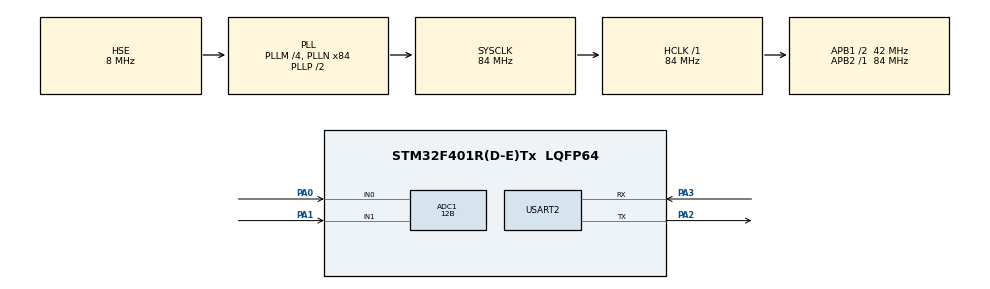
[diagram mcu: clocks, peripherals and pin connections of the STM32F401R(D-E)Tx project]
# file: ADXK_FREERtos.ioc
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ADC1.Channel-6\#ChannelRegularConversion=ADC_CHANNEL_1
ADC1.ContinuousConvMode=DISABLE
ADC1.NbrOfConversion=1
ADC1.NbrOfConversionFlag=1
ADC1.Rank-6\#ChannelRegularConversion=1
ADC1.Resolution=ADC_RESOLUTION_12B
ADC1.SamplingTime-6\#ChannelRegularConversion=ADC_SAMPLETIME_15CYCLES
ADC1.ScanConvMode=DISABLE
ADC1.master=1
FREERTOS.Tasks01=Sensor1,1,128,Sensor1Read,Default,NULL,Dynamic,NULL,NULL;Sensor2,0,128,Sensor2Read,Default,NULL,Dynamic,NULL,NULL
FREERTOS.configUSE_NEWLIB_REENTRANT=1
Mcu.Family=STM32F4
Mcu.Name=STM32F401R(D-E)Tx
Mcu.Package=LQFP64
NVIC.PriorityGroup=NVIC_PRIORITYGROUP_4
NVIC.TIM2_IRQn=true\:15\:0\:false\:false\:true\:false\:false\:true\:true
NVIC.TimeBase=TIM2_IRQn
NVIC.TimeBaseIP=TIM2
PA0-WKUP.Signal=ADCx_IN0
PA1.Signal=ADCx_IN1
PA2.Mode=Asynchronous
PA2.Signal=USART2_TX
PA3.Mode=Asynchronous
PA3.Signal=USART2_RX
PH0\ -\ OSC_IN.Mode=HSE-External-Oscillator
PH0\ -\ OSC_IN.Signal=RCC_OSC_IN
PH1\ -\ OSC_OUT.Mode=HSE-External-Oscillator
PH1\ -\ OSC_OUT.Signal=RCC_OSC_OUT
ProjectManager.HeapSize=0x200
ProjectManager.StackSize=0x400
ProjectManager.TargetToolchain=STM32CubeIDE
RCC.48MHZClocksFreq_Value=24000000
RCC.AHBFreq_Value=84000000
RCC.APB1CLKDivider=RCC_HCLK_DIV2
RCC.APB1Freq_Value=42000000
RCC.APB1TimFreq_Value=84000000
RCC.APB2Freq_Value=84000000
RCC.APB2TimFreq_Value=84000000
RCC.CortexFreq_Value=84000000
RCC.HCLKFreq_Value=84000000
RCC.HSE_VALUE=8000000
RCC.HSI_VALUE=16000000
RCC.LSE_VALUE=32768
RCC.PLLM=4
RCC.PLLN=84
RCC.PLLQ=7
RCC.PLLSourceVirtual=RCC_PLLSOURCE_HSE
RCC.SYSCLKFreq_VALUE=84000000
RCC.SYSCLKSource=RCC_SYSCLKSOURCE_PLLCLK
RCC.VCOOutputFreq_Value=168000000
SH.ADCx_IN0.0=ADC1_IN0,IN0
SH.ADCx_IN1.0=ADC1_IN1,IN1
USART2.VirtualMode=VM_ASYNC
VP_FREERTOS_VS_CMSIS_V1.Mode=CMSIS_V1
VP_SYS_VS_tim2.Mode=TIM2
board=NUCLEO-F401RE

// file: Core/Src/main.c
/* USER CODE BEGIN Header */
/**
  ******************************************************************************
  * @file           : main.c
  * @brief          : Main program body
  ******************************************************************************
  * @attention
  *
  * Copyright (c) 2023 STMicroelectronics.
  * All rights reserved.
  *
  * This software is licensed under terms that can be found in the LICENSE file
  * in the root directory of this software component.
  * If no LICENSE file comes with this software, it is provided AS-IS.
  *
  ******************************************************************************
  */
/* USER CODE END Header */
#include "main.h"
#include "cmsis_os.h"

/* USER CODE BEGIN Includes */

#include "string.h"
#include <stdio.h>
/* USER CODE END Includes */

ADC_HandleTypeDef hadc1;

UART_HandleTypeDef huart2;

osThreadId Sensor1Handle;
osThreadId Sensor2Handle;

void SystemClock_Config(void);
static void MX_GPIO_Init(void);
static void MX_ADC1_Init(void);
static void MX_USART2_UART_Init(void);
void Sensor1Read(void const * argument);
void Sensor2Read(void const * argument);

/* USER CODE BEGIN PFP */
#define SampleSize 1000
uint32_t counter1;
uint32_t counter2;

/* USER CODE END PFP */

int main(void)
{

  /* MCU Configuration--------------------------------------------------------*/

  /* Reset of all peripherals, Initializes the Flash interface and the Systick. */
  HAL_Init();

  /* Configure the system clock */
  SystemClock_Config();

  /* Initialize all configured peripherals */
  MX_GPIO_Init();
  MX_ADC1_Init();
  MX_USART2_UART_Init();

  /* Create the thread(s) */
  /* definition and creation of Sensor1 */
  osThreadDef(Sensor1, Sensor1Read, osPriorityAboveNormal, 0, 128);
  Sensor1Handle = osThreadCreate(osThread(Sensor1), NULL);

  /* definition and creation of Sensor2 */
  osThreadDef(Sensor2, Sensor2Read, osPriorityNormal, 0, 128);
  Sensor2Handle = osThreadCreate(osThread(Sensor2), NULL);

  /* Start scheduler */
  osKernelStart();

  /* We should never get here as control is now taken by the scheduler */
  /* Infinite loop */
  while (1)
  {

  }
}

void SystemClock_Config(void)
{
  RCC_OscInitTypeDef RCC_OscInitStruct = {0};
  RCC_ClkInitTypeDef RCC_ClkInitStruct = {0};

  /** Configure the main internal regulator output voltage
  */
  __HAL_RCC_PWR_CLK_ENABLE();
  __HAL_PWR_VOLTAGESCALING_CONFIG(PWR_REGULATOR_VOLTAGE_SCALE2);

  /** Initializes the RCC Oscillators according to the specified parameters
  * in the RCC_OscInitTypeDef structure.
  */
  RCC_OscInitStruct.OscillatorType = RCC_OSCILLATORTYPE_HSE;
  RCC_OscInitStruct.HSEState = RCC_HSE_ON;
  RCC_OscInitStruct.PLL.PLLState = RCC_PLL_ON;
  RCC_OscInitStruct.PLL.PLLSource = RCC_PLLSOURCE_HSE;
  RCC_OscInitStruct.PLL.PLLM = 4;
  RCC_OscInitStruct.PLL.PLLN = 84;
  RCC_OscInitStruct.PLL.PLLP = RCC_PLLP_DIV2;
  RCC_OscInitStruct.PLL.PLLQ = 7;
  if (HAL_RCC_OscConfig(&RCC_OscInitStruct) != HAL_OK)
  {
    Error_Handler();
  }

  /** Initializes the CPU, AHB and APB buses clocks
  */
  RCC_ClkInitStruct.ClockType = RCC_CLOCKTYPE_HCLK|RCC_CLOCKTYPE_SYSCLK
                              |RCC_CLOCKTYPE_PCLK1|RCC_CLOCKTYPE_PCLK2;
  RCC_ClkInitStruct.SYSCLKSource = RCC_SYSCLKSOURCE_PLLCLK;
  RCC_ClkInitStruct.AHBCLKDivider = RCC_SYSCLK_DIV1;
  RCC_ClkInitStruct.APB1CLKDivider = RCC_HCLK_DIV2;
  RCC_ClkInitStruct.APB2CLKDivider = RCC_HCLK_DIV1;

  if (HAL_RCC_ClockConfig(&RCC_ClkInitStruct, FLASH_LATENCY_2) != HAL_OK)
  {
    Error_Handler();
  }
}

static void MX_ADC1_Init(void)
{

  ADC_ChannelConfTypeDef sConfig = {0};

  /** Configure the global features of the ADC (Clock, Resolution, Data Alignment and number of conversion)
  */
  hadc1.Instance = ADC1;
  hadc1.Init.ClockPrescaler = ADC_CLOCK_SYNC_PCLK_DIV4;
  hadc1.Init.Resolution = ADC_RESOLUTION_12B;
  hadc1.Init.ScanConvMode = DISABLE;
  hadc1.Init.ContinuousConvMode = DISABLE;
  hadc1.Init.DiscontinuousConvMode = DISABLE;
  hadc1.Init.ExternalTrigConvEdge = ADC_EXTERNALTRIGCONVEDGE_NONE;
  hadc1.Init.ExternalTrigConv = ADC_SOFTWARE_START;
  hadc1.Init.DataAlign = ADC_DATAALIGN_RIGHT;
  hadc1.Init.NbrOfConversion = 1;
  hadc1.Init.DMAContinuousRequests = DISABLE;
  hadc1.Init.EOCSelection = ADC_EOC_SINGLE_CONV;
  if (HAL_ADC_Init(&hadc1) != HAL_OK)
  {
    Error_Handler();
  }

  /** Configure for the selected ADC regular channel its corresponding rank in the sequencer and its sample time.
  */
  sConfig.Channel = ADC_CHANNEL_1;
  sConfig.Rank = 1;
  sConfig.SamplingTime = ADC_SAMPLETIME_15CYCLES;
  if (HAL_ADC_ConfigChannel(&hadc1, &sConfig) != HAL_OK)
  {
    Error_Handler();
  }

}

static void MX_USART2_UART_Init(void)
{

  huart2.Instance = USART2;
  huart2.Init.BaudRate = 115200;
  huart2.Init.WordLength = UART_WORDLENGTH_8B;
  huart2.Init.StopBits = UART_STOPBITS_1;
  huart2.Init.Parity = UART_PARITY_NONE;
  huart2.Init.Mode = UART_MODE_TX_RX;
  huart2.Init.HwFlowCtl = UART_HWCONTROL_NONE;
  huart2.Init.OverSampling = UART_OVERSAMPLING_16;
  if (HAL_UART_Init(&huart2) != HAL_OK)
  {
    Error_Handler();
  }

}

static void MX_GPIO_Init(void)
{

  /* GPIO Ports Clock Enable */
  __HAL_RCC_GPIOH_CLK_ENABLE();
  __HAL_RCC_GPIOA_CLK_ENABLE();

}

void Sensor1Read(void const * argument)
{
  /* USER CODE BEGIN 5 */
  /* Infinite loop */
  for(;;)
  {
	  counter1++;
	  	  	  if (counter1<=SampleSize)
	  	  	  {
	  	  	  ADC_ChannelConfTypeDef sConfig = {0};
	  	  	  int Sensor1Values;
	  	  	  uint8_t str[50]="";
	  	  	  	sConfig.Channel = ADC_CHANNEL_0;
	  	  	    sConfig.Rank = 1;
	  	  	    sConfig.SamplingTime = ADC_SAMPLETIME_15CYCLES;
	  	  	   if (HAL_ADC_ConfigChannel(&hadc1, &sConfig) != HAL_OK)
	  	  	    {
	  	  	      Error_Handler();
	  	  	   }

	  	  	  HAL_ADC_Start(&hadc1);
	  	  	  HAL_ADC_PollForConversion(&hadc1, 100);
	  	  	  Sensor1Values=(int)HAL_ADC_GetValue(&hadc1);
	  	  	  HAL_ADC_Stop(&hadc1);
	  	  	  sprintf(str, "\r\nSensor1 Value[%lu] = %d\r\n",(unsigned long)counter1,Sensor1Values);
	  	  	  HAL_UART_Transmit(&huart2, (uint8_t*)str, strlen(str), 200);
	  	  	  osDelay(10);
	  	  	  }
	  else
	  {
		  break;
	  }
  }
  /* USER CODE END 5 */
}

void Sensor2Read(void const * argument)
{
  /* USER CODE BEGIN Sensor2Read */
  /* Infinite loop */
  for(;;)
  {
	  counter2++;
	  	  if (counter2<=SampleSize)
	  	  {
	  	  ADC_ChannelConfTypeDef sConfig = {0};
	  	  int Sensor2Values;
	  	  uint8_t str[50]="";
	  	  	sConfig.Channel = ADC_CHANNEL_1;
	  	    sConfig.Rank = 1;
	  	    sConfig.SamplingTime = ADC_SAMPLETIME_15CYCLES;
	  	   if (HAL_ADC_ConfigChannel(&hadc1, &sConfig) != HAL_OK)
	  	    {
	  	      Error_Handler();
	  	   }

	  	  HAL_ADC_Start(&hadc1);
	  	  HAL_ADC_PollForConversion(&hadc1, 100);
	  	  Sensor2Values=(int)HAL_ADC_GetValue(&hadc1);
	  	  HAL_ADC_Stop(&hadc1);
	  	  sprintf(str, "Sensor2 Value[%lu] = %d\r\n",(unsigned long)counter2,Sensor2Values);
	  	  HAL_UART_Transmit(&huart2, (uint8_t*)str, strlen(str), 200);
	  	 osDelay(10);
	  	  }
	  	  else
	  	  {
	  		  break;
	  	  }
  }
  /* USER CODE END Sensor2Read */
}

void HAL_TIM_PeriodElapsedCallback(TIM_HandleTypeDef *htim)
{
  if (htim->Instance == TIM2) {
    HAL_IncTick();
  }
}

void Error_Handler(void)
{
  __disable_irq();
  while (1)
  {
  }
}
